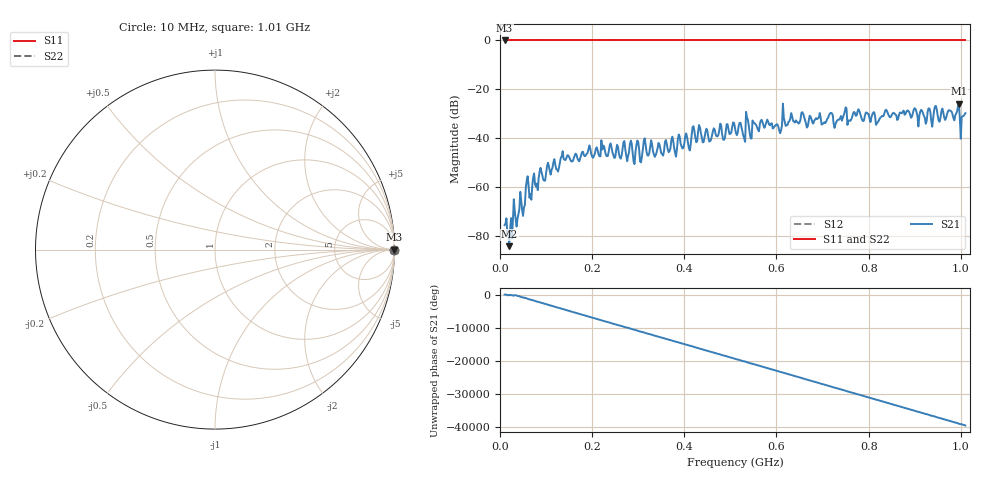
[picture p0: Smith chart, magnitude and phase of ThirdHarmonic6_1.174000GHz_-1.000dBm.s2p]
! 8/16/2025 11:55:32 AM
! C:\ANRITSUVNA\TEMP\TEMP.S2P
! CHANNEL.1
! TR.MEASUREMENT
! RAW.DATA
! RF.CORRECTION.OFF
! AVERAGING.OFF
! IF.BANDWIDTH: 5KHZ
! SWEEPTYPE:  FREQ.SWEEP(Linear)
! Reference Plane Port Info
! PORT:  PORT1  PORT2
! DISTANCE:  0  m  0  m
! TIME:  0  s  0  s
! PHASE.OFFSET:  0  deg.  0  deg.
! LOSS:  0  dB  0  dB
! REF.LOSS:  0  dB  0  dB
! REF.FREQ:  0  Hz  0  Hz
! Power Info
! POWER:  -20  dBm  -20  dBm
! EFF.POWER:  -20  dBm  -20  dBm
! SOURCE.ATTEN:  0  dB  0  dB
! TEST.ATTEN:  0  dB  0  dB
# GHZ S RI R 50.0
! FREQ.GHZ  S11RE  S11IM  S21RE  S21IM  S12RE  S12IM  S22RE  S22IM
!; PortSelection: Port_12
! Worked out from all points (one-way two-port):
!   501 points, 10 MHz to 1.01 GHz, reference 50 ohm
!   highest |S21| = -25.91 dB at 996 MHz (marker M1); lowest = -84.3 dB at 20 MHz (marker M2)
!   lowest |S11| = 0.0 dB at 10 MHz (marker M3)
!   |S11| at or under -10 dB: nowhere
!   |S22| runs from 0.0 to 0.0 dB; largest |S21 - S12| = 1
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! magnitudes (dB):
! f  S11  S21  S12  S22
! 10 MHz  0.0  -75.7  0.0  0.0
! 20 MHz  0.0  -84.3  0.0  0.0
! 50 MHz  0.0  -71.9  0.0  0.0
! 60 MHz  0.0  -55.6  0.0  0.0
! 66 MHz  0.0  -62.8  0.0  0.0
! 88 MHz  0.0  -52.2  0.0  0.0
! 126 MHz  0.0  -53.7  0.0  0.0
! 136 MHz  0.0  -45.4  0.0  0.0
! 178 MHz  0.0  -45.8  0.0  0.0
! 344 MHz  0.0  -42.0  0.0  0.0
! 420 MHz  0.0  -35.2  0.0  0.0
! 510 MHz  0.0  -35.8  0.0  0.0
! 528 MHz  0.0  -39.0  0.0  0.0
! 538 MHz  0.0  -32.6  0.0  0.0
! 544 MHz  0.0  -40.1  0.0  0.0
! 552 MHz  0.0  -33.8  0.0  0.0
! 608 MHz  0.0  -38.0  0.0  0.0
! 616 MHz  0.0  -31.8  0.0  0.0
! 678 MHz  0.0  -33.7  0.0  0.0
! 844 MHz  0.0  -30.8  0.0  0.0
! 996 MHz  0.0  -25.9  0.0  0.0
! 1.01 GHz  0.0  -29.8  0.0  0.0
